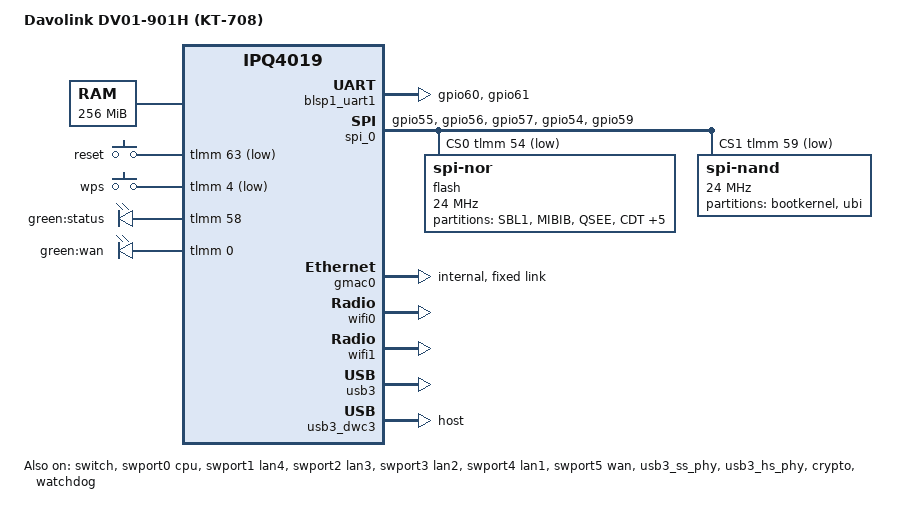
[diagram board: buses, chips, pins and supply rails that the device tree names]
// SPDX-License-Identifier: GPL-2.0-or-later OR MIT
/*
 * Davolink DV01-901H (KT GiGA WiFi Wave 2 / KT-708)
 * Qualcomm IPQ4019 (IPQ40xx)
 * 
 * Device Tree Source extracted from stock firmware DTB
 * Compatible with ImmortalWrt master / openwrt-24.10
 */

/dts-v1/;

#include "qcom-ipq4019.dtsi"
#include <dt-bindings/gpio/gpio.h>
#include <dt-bindings/input/input.h>
#include <dt-bindings/leds/common.h>

/ {
	model = "Davolink DV01-901H (KT-708)";
	compatible = "davolink,dv01-901h", "qcom,ipq4019";

	aliases {
		serial0 = &blsp1_uart1;
		led-boot = &led_status;
		led-failsafe = &led_status;
		led-running = &led_status;
		led-upgrade = &led_status;
		label-mac-device = &gmac0;
	};

	chosen {
		bootargs = "root_rfs=0x00000000 flash_type=norplusnand";
		stdout-path = "serial0:115200n8";
	};

	memory {
		device_type = "memory";
		reg = <0x80000000 0x10000000>; /* 256MB DDR3 */
	};

	reserved-memory {
		#address-cells = <1>;
		#size-cells = <1>;
		ranges;

		smem@87e00000 {
			reg = <0x87e00000 0x80000>;
			no-map;
		};

		tz@87e80000 {
			reg = <0x87e80000 0x180000>;
			no-map;
		};
	};

	keys {
		compatible = "gpio-keys";

		reset {
			label = "reset";
			gpios = <&tlmm 63 GPIO_ACTIVE_LOW>;
			linux,code = <KEY_RESTART>;
			debounce-interval = <60>;
		};

		wps {
			label = "wps";
			gpios = <&tlmm 4 GPIO_ACTIVE_LOW>;
			linux,code = <KEY_WPS_BUTTON>;
			debounce-interval = <60>;
		};
	};

	leds {
		compatible = "gpio-leds";

		led_status: status {
			label = "green:status";
			gpios = <&tlmm 58 GPIO_ACTIVE_HIGH>;
			linux,default-trigger = "default-on";
		};

		wan {
			label = "green:wan";
			gpios = <&tlmm 0 GPIO_ACTIVE_HIGH>;
			linux,default-trigger = "netdev";
			linux,dev = "eth0";
		};
	};
};

&blsp1_uart1 {
	status = "okay";
	pinctrl-0 = <&serial_pins>;
	pinctrl-names = "default";
};

&tlmm {
	serial_pins: serial_pinmux {
		mux {
			pins = "gpio60", "gpio61";
			function = "blsp_uart0";
			bias-disable;
		};
	};

	spi_0_pins: spi_0_pinmux {
		mux {
			function = "blsp_spi0";
			pins = "gpio55", "gpio56", "gpio57";
			drive-strength = <12>;
			bias-disable;
		};

		mux_cs {
			function = "gpio";
			pins = "gpio54", "gpio59";
			drive-strength = <2>;
			bias-disable;
			output-high;
		};
	};
};

&spi_0 {
	status = "okay";
	pinctrl-0 = <&spi_0_pins>;
	pinctrl-names = "default";
	cs-gpios = <&tlmm 54 GPIO_ACTIVE_LOW>,
	           <&tlmm 59 GPIO_ACTIVE_LOW>;

	flash@0 {
		compatible = "jedec,spi-nor";
		reg = <0>;
		spi-max-frequency = <24000000>;
		#address-cells = <1>;
		#size-cells = <1>;

		partitions {
			compatible = "fixed-partitions";
			#address-cells = <1>;
			#size-cells = <1>;

			partition@0 {
				label = "SBL1";
				reg = <0x000000 0x040000>;
				read-only;
			};

			partition@40000 {
				label = "MIBIB";
				reg = <0x040000 0x020000>;
				read-only;
			};

			partition@60000 {
				label = "QSEE";
				reg = <0x060000 0x060000>;
				read-only;
			};

			partition@c0000 {
				label = "CDT";
				reg = <0x0c0000 0x010000>;
				read-only;
			};

			partition@d0000 {
				label = "DDRPARAMS";
				reg = <0x0d0000 0x010000>;
				read-only;
			};

			partition@e0000 {
				label = "APPSBLENV";
				reg = <0x0e0000 0x010000>;
			};

			partition@f0000 {
				label = "APPSBL";
				reg = <0x0f0000 0x080000>;
				read-only;
			};

			/* ART partition - CONTAINS UNIQUE WIFI CALIBRATION DATA */
			partition@170000 {
				label = "ART";
				reg = <0x170000 0x010000>;
				read-only;

				nvmem-layout {
					compatible = "fixed-layout";
					#address-cells = <1>;
					#size-cells = <1>;

					precal_art_1000: precal@1000 {
						reg = <0x1000 0x2f20>;
					};

					precal_art_5000: precal@5000 {
						reg = <0x5000 0x2f20>;
					};
				};
			};

			partition@180000 {
				label = "vmacs";
				reg = <0x180000 0x080000>;

				nvmem-layout {
					compatible = "fixed-layout";
					#address-cells = <1>;
					#size-cells = <1>;

					macaddr_wan: macaddr@0 {
						reg = <0x0 0x6>;
					};

					macaddr_lan: macaddr@10 {
						reg = <0x10 0x6>;
					};

					macaddr_wifi0: macaddr@20 {
						reg = <0x20 0x6>;
					};

					macaddr_wifi1: macaddr@30 {
						reg = <0x30 0x6>;
					};
				};
			};
		};
	};

	/* SPI NAND Flash - 128MB */
	spi-nand@1 {
		compatible = "spi-nand";
		reg = <1>;
		spi-max-frequency = <24000000>;
		#address-cells = <1>;
		#size-cells = <1>;

		partitions {
			compatible = "fixed-partitions";
			#address-cells = <1>;
			#size-cells = <1>;

			partition@0 {
				label = "bootkernel";
				reg = <0x00000000 0x02000000>;
			};

			partition@2000000 {
				compatible = "linux,ubi";
				label = "ubi";
				reg = <0x02000000 0x06000000>;
			};
		};
	};
};

&gmac0 {
	status = "okay";
	phy-mode = "internal";

	fixed-link {
		speed = <1000>;
		full-duplex;
		pause;
	};
};

&switch {
	status = "okay";
};

&swport0 {
	label = "cpu";
	ethernet = <&gmac0>;
	status = "okay";

	fixed-link {
		speed = <1000>;
		full-duplex;
		pause;
		asym-pause;
	};
};

&swport1 { label = "lan4"; status = "okay"; };
&swport2 { label = "lan3"; status = "okay"; };
&swport3 { label = "lan2"; status = "okay"; };
&swport4 { label = "lan1"; status = "okay"; };

&swport5 {
	label = "wan";
	status = "okay";
	nvmem-cells = <&macaddr_wan>;
	nvmem-cell-names = "mac-address";
};

&wifi0 {
	status = "okay";
	nvmem-cells = <&precal_art_1000>, <&macaddr_wifi0>;
	nvmem-cell-names = "pre-calibration", "mac-address";
	qca,ath10k-calibration-variant = "Davolink-DV01-901H";
};

&wifi1 {
	status = "okay";
	nvmem-cells = <&precal_art_5000>, <&macaddr_wifi1>;
	nvmem-cell-names = "pre-calibration", "mac-address";
	qca,ath10k-calibration-variant = "Davolink-DV01-901H";
};

&usb3_ss_phy { status = "okay"; };
&usb3_hs_phy { status = "okay"; };
&usb3 { status = "okay"; };
&usb3_dwc3 { dr_mode = "host"; };

&crypto { status = "okay"; };
&watchdog { status = "okay"; };
